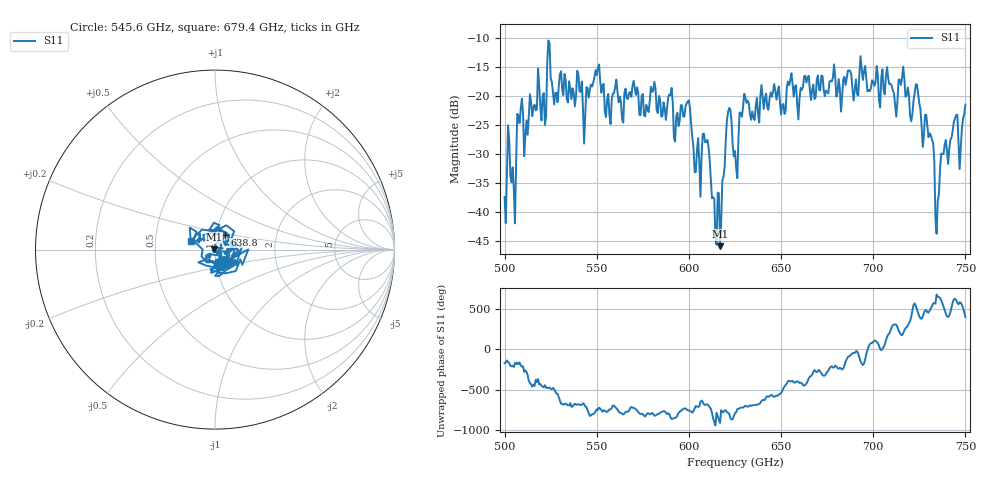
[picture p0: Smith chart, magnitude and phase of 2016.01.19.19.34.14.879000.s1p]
!Created with skrf (http://scikit-rf.org).
# GHz S RI R 50.0
!freq ReS11 ImS11
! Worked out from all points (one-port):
!   401 points, 500 GHz to 750 GHz, reference 50 ohm
!   lowest |S11| = -45.8 dB at 616.9 GHz (marker M1), VSWR 1.01, Z = 49.5 + j0.0883 ohm
!   |S11| at or under -10 dB: start of sweep to end of sweep
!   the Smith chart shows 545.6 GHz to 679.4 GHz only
!   S11 on the Smith chart (normalised r, x): 545.6 GHz: 1.06, -0.19; 638.8 GHz: 1.10, +0.19; 679.4 GHz: 0.76, +0.08
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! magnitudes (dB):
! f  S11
! 500 GHz  -37.4
! 502.5 GHz  -27.6
! 505 GHz  -36.1
! 508.1 GHz  -24.7
! 521.2 GHz  -19.5
! 524.4 GHz  -11.0
! 531.2 GHz  -18.9
! 545.6 GHz  -20.3
! 562.5 GHz  -20.1
! 580.6 GHz  -19.1
! 593.8 GHz  -22.9
! 599.4 GHz  -21.0
! 603.1 GHz  -33.1
! 608.8 GHz  -28.0
! 613.8 GHz  -37.7
! 616.9 GHz  -45.8
! 621.2 GHz  -22.8
! 625 GHz  -29.5
! 630.6 GHz  -20.3
! 638.8 GHz  -20.1
! 656.2 GHz  -18.0
! 679.4 GHz  -16.8
! 687.5 GHz  -15.7
! 718.8 GHz  -18.6
! 729.4 GHz  -25.3
! 735 GHz  -38.1
! 738.1 GHz  -30.0
! 750 GHz  -21.5
